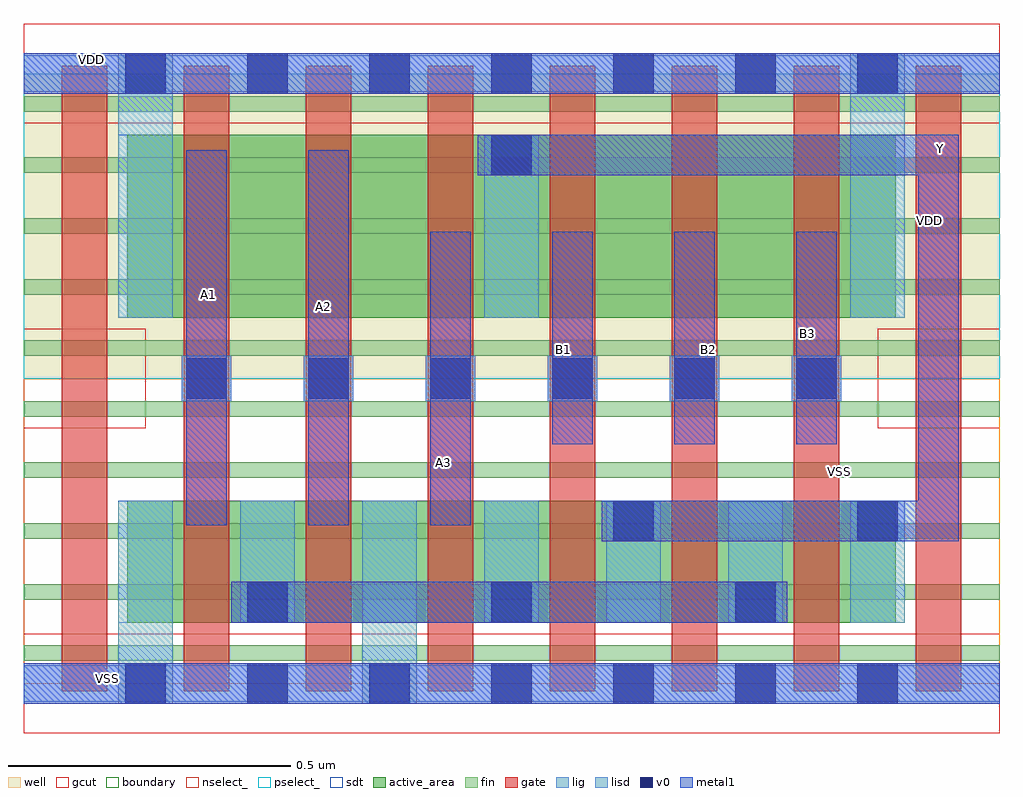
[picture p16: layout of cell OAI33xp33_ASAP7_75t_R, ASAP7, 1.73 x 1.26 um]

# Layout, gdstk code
import gdstk
lib = gdstk.Library(unit=1e-6, precision=2.5e-10)
def R(c, l, rs):  # rectangles x0, y0, x1, y1
    for r in rs: c.add(gdstk.rectangle(r[:2], r[2:], *l))
def A(c, l, x, y, w, h, nx, ny, dx, dy):  # array of equal rectangles
    R(c, l, [(x+i*dx, y+j*dy, x+i*dx+w, y+j*dy+h) for i in range(nx) for j in range(ny)])
def P(c, l, *ps):  # polygons
    for p in ps: c.add(gdstk.Polygon(p, *l))
well = (1, 0)
fin = (2, 0)
gate = (7, 0)
gcut = (10, 0)
active_area = (11, 0)
nselect_ = (12, 0)
pselect_ = (13, 0)
lig = (16, 0)
lisd = (17, 0)
v0 = (18, 0)
metal1 = (19, 0)
sdt = (88, 0)
boundary = (100, 0)

oai33xp33_asap7_75t_r = lib.new_cell('OAI33xp33_ASAP7_75t_R')
R(oai33xp33_asap7_75t_r, well, [(0,0.54,1.728,1.08)])
A(oai33xp33_asap7_75t_r, fin, 0, 0.04, 1.728, 0.028, 1, 10, 0, 0.108)
A(oai33xp33_asap7_75t_r, gate, 0.068, -0.014, 0.08, 1.108, 8, 1, 0.216, 0)
R(oai33xp33_asap7_75t_r, gcut, [(0,-0.088,1.728,0.088), (0,0.452,0.216,0.628), (1.512,0.452,1.728,0.628), (0,0.992,1.728,1.168)])
R(oai33xp33_asap7_75t_r, active_area, [(0.184,0.108,1.544,0.324), (0.184,0.648,1.544,0.972)])
R(oai33xp33_asap7_75t_r, nselect_, [(0,0,1.728,0.54)])
R(oai33xp33_asap7_75t_r, pselect_, [(0,0.54,1.728,1.08)])
A(oai33xp33_asap7_75t_r, lig, 0.28, 0.5, 0.088, 0.08, 6, 1, 0.216, 0)
R(oai33xp33_asap7_75t_r, lig, [(0,-0.032,1.728,0.032), (0,1.048,1.728,1.112)])
A(oai33xp33_asap7_75t_r, lisd, 0.816, 0.108, 0.096, 0.216, 4, 1, 0.216, 0)
R(oai33xp33_asap7_75t_r, lisd, [(0.168,-0.036,0.264,0.324), (0.6,-0.036,0.696,0.324), (0.384,0.108,0.48,0.324), (0.168,0.648,0.264,1.116), (0.816,0.648,0.912,0.972), (1.464,0.648,1.56,1.116)])
A(oai33xp33_asap7_75t_r, v0, 0.18, -0.036, 0.072, 0.072, 7, 2, 0.216, 1.08)
A(oai33xp33_asap7_75t_r, v0, 0.396, 0.108, 0.072, 0.072, 3, 1, 0.432, 0)
A(oai33xp33_asap7_75t_r, v0, 0.288, 0.504, 0.072, 0.072, 6, 1, 0.216, 0)
R(oai33xp33_asap7_75t_r, v0, [(1.044,0.252,1.116,0.324), (1.476,0.252,1.548,0.324), (0.828,0.9,0.9,0.972)])
A(oai33xp33_asap7_75t_r, metal1, 0.936, 0.424, 0.072, 0.376, 3, 1, 0.216, 0)
R(oai33xp33_asap7_75t_r, metal1, [(0,-0.036,1.728,0.036), (0.368,0.108,1.352,0.18), (0.288,0.28,0.36,0.944), (0.504,0.28,0.576,0.944), (0.72,0.28,0.792,0.8), (0,1.044,1.728,1.116)])
P(oai33xp33_asap7_75t_r, metal1, [(1.024,0.252),(1.024,0.324),(1.584,0.324),(1.584,0.9),(0.804,0.9),(0.804,0.972),(1.656,0.972),(1.656,0.252)])
A(oai33xp33_asap7_75t_r, sdt, 0.168, 0.108, 0.096, 0.216, 7, 1, 0.216, 0)
A(oai33xp33_asap7_75t_r, sdt, 0.168, 0.648, 0.096, 0.324, 3, 1, 0.648, 0)
R(oai33xp33_asap7_75t_r, boundary, [(0,0,1.728,1.08)])
oai33xp33_asap7_75t_r.add(gdstk.Label('Y', (1.624,0.948), layer=19, texttype=251))
oai33xp33_asap7_75t_r.add(gdstk.Label('B1', (0.956,0.592), layer=19, texttype=251))
oai33xp33_asap7_75t_r.add(gdstk.Label('VDD', (0.12,1.104), layer=19, texttype=251))
oai33xp33_asap7_75t_r.add(gdstk.Label('VSS', (0.148,0.008), layer=19, texttype=251))
oai33xp33_asap7_75t_r.add(gdstk.Label('A1', (0.328,0.688), layer=19, texttype=251))
oai33xp33_asap7_75t_r.add(gdstk.Label('A2', (0.532,0.668), layer=19, texttype=251))
oai33xp33_asap7_75t_r.add(gdstk.Label('B2', (1.212,0.592), layer=19, texttype=251))
oai33xp33_asap7_75t_r.add(gdstk.Label('A3', (0.744,0.392), layer=19, texttype=251))
oai33xp33_asap7_75t_r.add(gdstk.Label('B3', (1.388,0.62), layer=19, texttype=251))
oai33xp33_asap7_75t_r.add(gdstk.Label('VDD', (1.604,0.82), layer=1, texttype=251))
oai33xp33_asap7_75t_r.add(gdstk.Label('VSS', (1.444,0.376), layer=3, texttype=251))

lib.write_gds('OAI33xp33_ASAP7_75t_R.gds')
